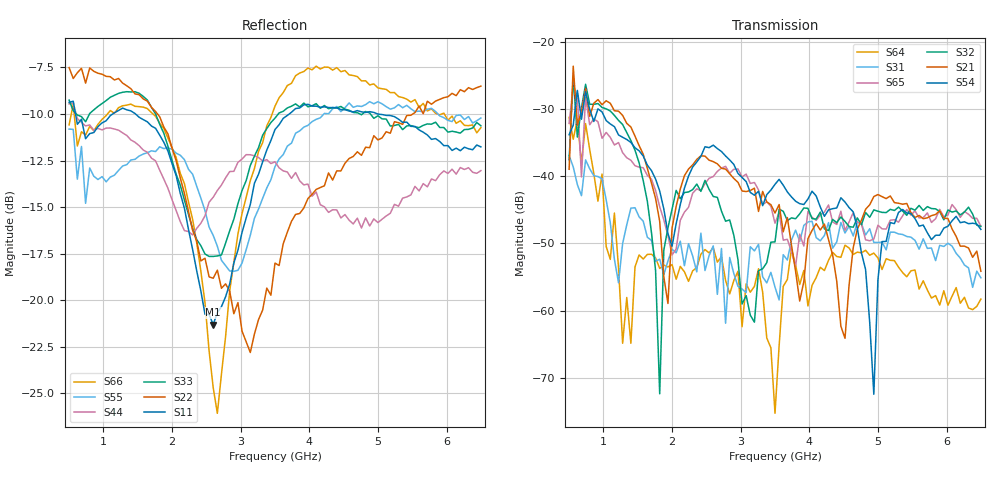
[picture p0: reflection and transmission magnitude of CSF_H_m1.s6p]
!Keysight Technologies,M9804A,MY58100912,A.14.10.03
!Date: Thursday, April 27, 2023 10:28:33
!Correction: S11(C  6-Port  )
!S12(C  6-Port  )
!S13(C  6-Port  )
!S14(C  6-Port  )
!S15(C  6-Port  )
!S16(C  6-Port  )
!S21(C  6-Port  )
!S22(C  6-Port  )
!S23(C  6-Port  )
!S24(C  6-Port  )
!S25(C  6-Port  )
!S26(C  6-Port  )
!S31(C  6-Port  )
!S32(C  6-Port  )
!S33(C  6-Port  )
!S34(C  6-Port  )
!S35(C  6-Port  )
!S36(C  6-Port  )
!S41(C  6-Port  )
!S42(C  6-Port  )
!S43(C  6-Port  )
!S44(C  6-Port  )
!S45(C  6-Port  )
!S46(C  6-Port  )
!S51(C  6-Port  )
!S52(C  6-Port  )
!S53(C  6-Port  )
!S54(C  6-Port  )
!S55(C  6-Port  )
!S56(C  6-Port  )
!S61(C  6-Port  )
!S62(C  6-Port  )
!S63(C  6-Port  )
!S64(C  6-Port  )
!S65(C  6-Port  )
!S66(C  6-Port  )
!S6P File: Measurement: :
# Hz S  RI  R 50
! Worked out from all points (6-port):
!   101 points, 500 MHz to 6.5 GHz, reference 50 ohm
!   strongest paths, dB at 500 MHz, 2 GHz, 3.5 GHz, 5 GHz, 6.5 GHz:
!     S54: -33.8, -50.4, -41.2, -55.4, -47.9
!     S21: -39.0, -47.7, -45.5, -42.7, -54.1
!     S32: -37.5, -44.9, -49.8, -45.2, -47.5
!     S65: -32.2, -51.7, -47.0, -47.3, -47.4
!     S31: -36.9, -50.9, -56.5, -49.9, -55.1
!     S64: -31.3, -53.2, -75.3, -52.2, -58.3
!   lowest |S11| = -21.3 dB at 2.6 GHz (marker M1), VSWR 1.19, Z = 42.4 + j2.3 ohm
!   |S11| at or under -10 dB: 593.1 MHz to 1.135 GHz (542.1 MHz wide, 62.7 % of centre); 1.467 GHz to 3.708 GHz (2.241 GHz wide, 86.6 % of centre); 4.996 GHz to end of sweep
